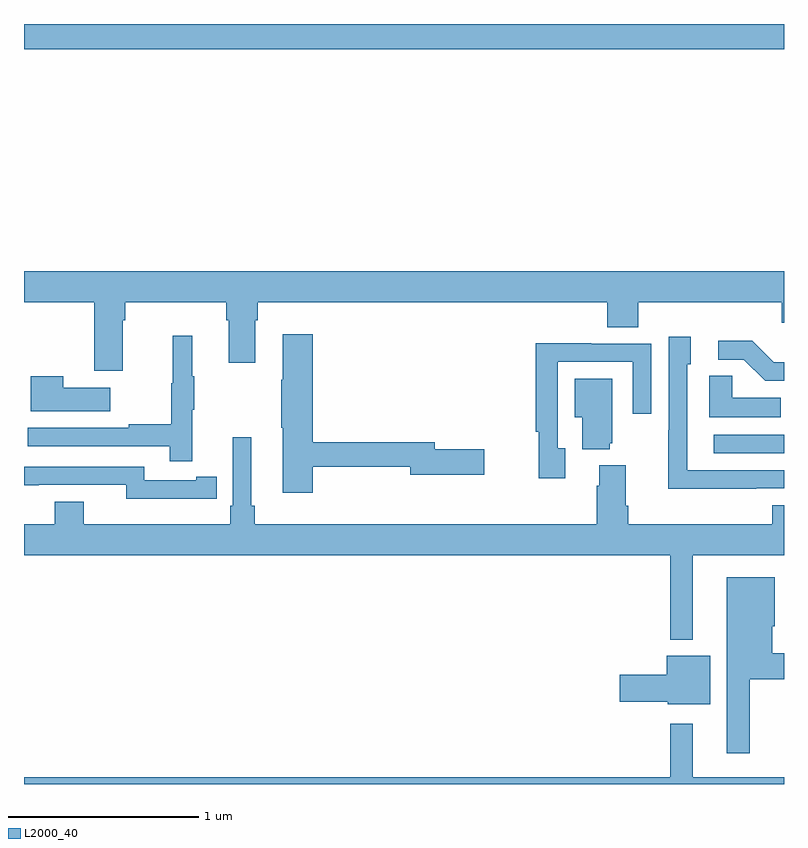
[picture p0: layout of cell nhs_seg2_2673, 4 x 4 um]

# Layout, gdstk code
import gdstk
lib = gdstk.Library(unit=1e-6, precision=1e-09)
def R(c, l, rs):  # rectangles x0, y0, x1, y1
    for r in rs: c.add(gdstk.rectangle(r[:2], r[2:], *l))
def P(c, l, *ps):  # polygons
    for p in ps: c.add(gdstk.Polygon(p, *l))
L2000_40 = (2000, 40)

nhs_seg2_2673 = lib.new_cell('nhs_seg2_2673')
R(nhs_seg2_2673, L2000_40, [(254.631,613.542,255,613.638), (251,615.668,255,615.8)])
P(nhs_seg2_2673, L2000_40, [(251.521,614.24),(251.534,614.24),(251.534,614.336),(252.065,614.336),(252.065,614.24),(252.077,614.24),(252.077,614.016),(252.217,614.016),(252.217,614.24),(252.23,614.24),(252.23,614.336),(254.069,614.336),(254.069,614.203),(254.234,614.203),(254.234,614.336),(254.987,614.336),(254.987,614.227),(255,614.227),(255,614.5),(251,614.5),(251,614.336),(251.369,614.336),(251.369,613.974),(251.521,613.974)],
  [(252.521,613.47),(253.034,613.47),(253.034,613.427),(253.423,613.427),(253.423,613.562),(253.162,613.562),(253.162,613.598),(252.521,613.598),(252.521,614.167),(252.362,614.167),(252.362,613.928),(252.355,613.928),(252.355,613.675),(252.362,613.675),(252.362,613.332),(252.521,613.332)],
  [(251.885,613.771),(251.896,613.771),(251.896,613.945),(251.885,613.945),(251.885,614.158),(251.782,614.158),(251.782,613.908),(251.775,613.908),(251.775,613.694),(251.551,613.694),(251.551,613.674),(251.019,613.674),(251.019,613.578),(251.767,613.578),(251.767,613.5),(251.885,613.5)],
  [(254.855,613.356),(255,613.356),(255,613.452),(254.49,613.452),(254.49,614.01),(254.509,614.01),(254.509,614.155),(254.394,614.155),(254.394,613.661),(254.392,613.661),(254.392,613.355),(254.855,613.355)],
  [(255,614.019),(254.946,614.019),(254.833,614.132),(254.655,614.132),(254.655,614.034),(254.789,614.034),(254.9,613.923),(255,613.923)],
  [(253.849,613.566),(253.809,613.566),(253.809,614.022),(254.205,614.022),(254.205,613.749),(254.301,613.749),(254.301,614.118),(253.985,614.118),(253.985,614.12),(253.693,614.12),(253.693,613.654),(253.708,613.654),(253.708,613.41),(253.849,613.41)],
  [(254.984,613.834),(254.727,613.834),(254.727,613.949),(254.606,613.949),(254.606,613.73),(254.984,613.73)],
  [(251.455,613.885),(251.207,613.885),(251.207,613.945),(251.036,613.945),(251.036,613.763),(251.455,613.763)],
  [(254.084,613.593),(254.095,613.593),(254.095,613.933),(253.898,613.933),(253.898,613.73),(253.937,613.73),(253.937,613.562),(254.084,613.562)],
  [(254.521,613.004),(255,613.004),(255,613.267),(254.939,613.267),(254.939,613.168),(254.18,613.168),(254.18,613.264),(254.167,613.264),(254.167,613.477),(254.027,613.477),(254.027,613.37),(254.015,613.37),(254.015,613.168),(252.215,613.168),(252.215,613.264),(252.196,613.264),(252.196,613.624),(252.099,613.624),(252.099,613.264),(252.086,613.264),(252.086,613.168),(251.314,613.168),(251.314,613.285),(251.162,613.285),(251.162,613.168),(251,613.168),(251,613.004),(254.4,613.004),(254.4,612.56),(254.521,612.56)],
  [(251.906,613.302),(252.014,613.302),(252.014,613.418),(251.906,613.418),(251.906,613.398),(251.634,613.398),(251.634,613.47),(251,613.47),(251,613.373),(251.078,613.373),(251.078,613.374),(251.538,613.374),(251.538,613.301),(251.906,613.301)],
  [(254.821,612.352),(255,612.352),(255,612.488),(254.938,612.488),(254.938,612.63),(254.95,612.63),(254.95,612.889),(254.699,612.889),(254.699,611.961),(254.821,611.961)],
  [(254.611,612.475),(254.384,612.475),(254.384,612.374),(254.136,612.374),(254.136,612.232),(254.388,612.232),(254.388,612.221),(254.611,612.221)],
  [(255,611.836),(254.521,611.836),(254.521,612.118),(254.4,612.118),(254.4,611.836),(251,611.836),(251,611.8),(255,611.8)])

lib.write_gds('nhs_seg2_2673.gds')
